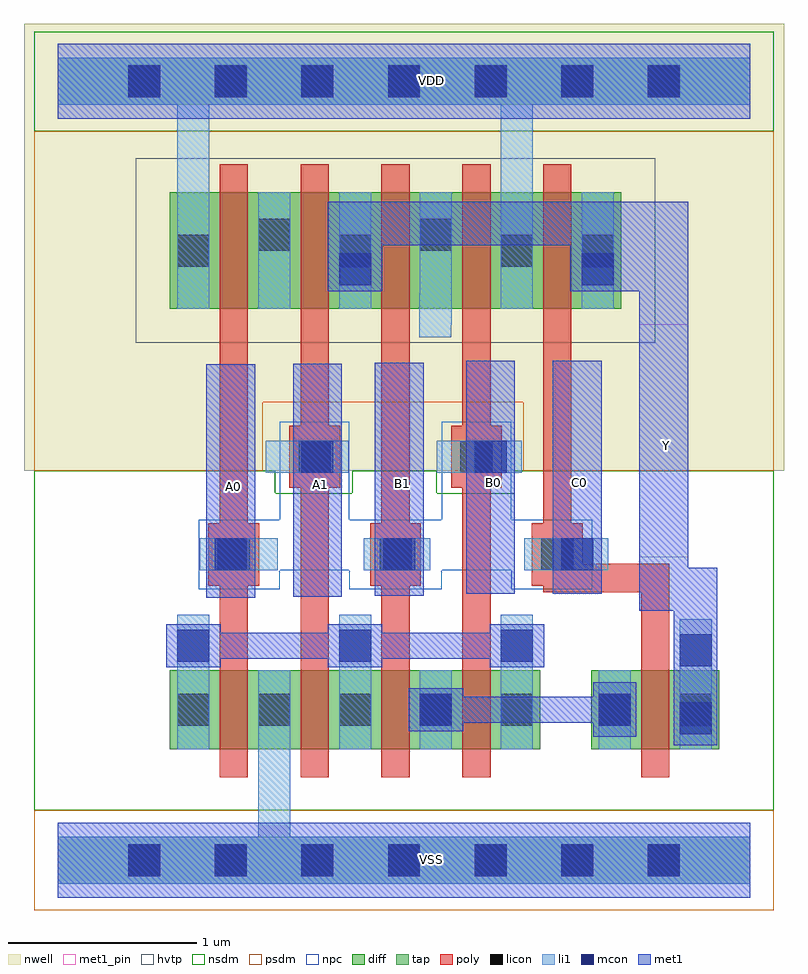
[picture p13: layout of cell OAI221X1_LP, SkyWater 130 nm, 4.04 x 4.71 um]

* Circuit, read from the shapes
.subckt OAI221X1_LP A0 A1 B0 B1 C0 VDD VSS Y
XM1 VSS A0 n1 VSS sky130_fd_pr__nfet_01v8 w=0.42 l=0.15
XM2 n1 A1 VSS VSS sky130_fd_pr__nfet_01v8 w=0.42 l=0.15
XM3 n2 B1 n1 VSS sky130_fd_pr__nfet_01v8 w=0.42 l=0.15
XM4 n1 B0 n2 VSS sky130_fd_pr__nfet_01v8 w=0.42 l=0.15
XM5 Y C0 n2 VSS sky130_fd_pr__nfet_01v8 w=0.42 l=0.15
XM6 n3 A0 VDD VDD sky130_fd_pr__pfet_01v8_hvt w=0.62 l=0.15
XM7 Y A1 n3 VDD sky130_fd_pr__pfet_01v8_hvt w=0.62 l=0.15
XM8 n4 B1 Y VDD sky130_fd_pr__pfet_01v8_hvt w=0.62 l=0.15
XM9 VDD B0 n4 VDD sky130_fd_pr__pfet_01v8_hvt w=0.62 l=0.15
XM10 Y C0 VDD VDD sky130_fd_pr__pfet_01v8_hvt w=0.62 l=0.15
.ends

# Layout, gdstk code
from math import pi, radians
import gdstk
lib = gdstk.Library(unit=1e-6, precision=1e-09)
def R(c, l, rs):  # rectangles x0, y0, x1, y1
    for r in rs: c.add(gdstk.rectangle(r[:2], r[2:], *l))
def A(c, l, x, y, w, h, nx, ny, dx, dy):  # array of equal rectangles
    R(c, l, [(x+i*dx, y+j*dy, x+i*dx+w, y+j*dy+h) for i in range(nx) for j in range(ny)])
def P(c, l, *ps):  # polygons
    for p in ps: c.add(gdstk.Polygon(p, *l))
nwell = (64, 20)
diff = (65, 20)
tap = (65, 44)
poly = (66, 20)
licon = (66, 44)
li1 = (67, 20)
mcon = (67, 44)
met1_pin = (68, 16)
met1 = (68, 20)
hvtp = (78, 44)
nsdm = (93, 44)
psdm = (94, 20)
npc = (95, 20)

l1m1_c_cdns_752016907001 = lib.new_cell('L1M1_C_CDNS_752016907001')
R(l1m1_c_cdns_752016907001, li1, [(-0.085,-0.165,0.085,0.165)])
R(l1m1_c_cdns_752016907001, mcon, [(-0.085,-0.085,0.085,0.085)])
R(l1m1_c_cdns_752016907001, met1, [(-0.115,-0.145,0.115,0.145)])

l1m1_c_cdns_752016907003 = lib.new_cell('L1M1_C_CDNS_752016907003')
R(l1m1_c_cdns_752016907003, li1, [(-0.165,-0.085,0.165,0.085)])
R(l1m1_c_cdns_752016907003, mcon, [(-0.085,-0.085,0.085,0.085)])
R(l1m1_c_cdns_752016907003, met1, [(-0.115,-0.145,0.115,0.145)])

licondiff_c_cdns_7520169 = lib.new_cell('LICONDIFF_C_CDNS_752016907004')
R(licondiff_c_cdns_7520169, diff, [(-0.125,-0.145,0.125,0.145)])
R(licondiff_c_cdns_7520169, licon, [(-0.085,-0.085,0.085,0.085), (-0.085,-0.085,0.085,0.085)])

pyl1con_c_cdns_752016907 = lib.new_cell('PYL1CON_C_CDNS_752016907000')
R(pyl1con_c_cdns_752016907, poly, [(-0.135,-0.165,0.135,0.165)])
R(pyl1con_c_cdns_752016907, licon, [(-0.085,-0.085,0.085,0.085)])
R(pyl1con_c_cdns_752016907, npc, [(-0.185,-0.185,0.185,0.185)])

l1m1_c_cdns_752016907002 = lib.new_cell('L1M1_C_CDNS_752016907002')
R(l1m1_c_cdns_752016907002, li1, [(-0.085,-0.345,0.085,0.345)])
R(l1m1_c_cdns_752016907002, mcon, [(-0.085,-0.265,0.085,-0.095), (-0.085,0.095,0.085,0.265)])
R(l1m1_c_cdns_752016907002, met1, [(-0.115,-0.325,0.115,0.325)])

oai221x1_lp = lib.new_cell('OAI221X1_LP')
R(oai221x1_lp, nwell, [(-0.18,2.07,3.86,4.445)])
R(oai221x1_lp, diff, [(0.595,0.59,2.565,1.01), (2.835,0.59,3.515,1.01), (0.595,2.93,2.995,3.55)])
A(oai221x1_lp, poly, 0.86, 0.44, 0.15, 3.26, 4, 1, 0.43, 0)
P(oai221x1_lp, poly, [(3.25,1.575),(2.73,1.575),(2.73,3.7),(2.58,3.7),(2.58,1.425),(3.1,1.425),(3.1,0.44),(3.25,0.44)])
A(oai221x1_lp, licon, 0.375, -0.085, 0.17, 0.17, 7, 2, 0.46, 4.14)
A(oai221x1_lp, licon, 0.635, 0.715, 0.17, 0.17, 5, 1, 0.43, 0)
A(oai221x1_lp, licon, 0.635, 3.155, 0.17, 0.17, 3, 1, 0.86, 0)
R(oai221x1_lp, licon, [(2.875,0.715,3.045,0.885), (3.305,0.715,3.475,0.885), (2.785,3.155,2.955,3.325)])
A(oai221x1_lp, li1, 1.495, 0.59, 0.17, 0.42, 3, 1, 0.43, 0)
R(oai221x1_lp, li1, [(0.635,0.59,0.805,1.01), (2.875,0.59,3.045,1.01), (3.305,0.59,3.475,1.01), (1.495,2.93,1.665,3.55), (2.785,2.93,2.955,3.55)])
P(oai221x1_lp, li1, [(2.095,3.55),(1.925,3.55),(1.925,3.015),(1.92,3.015),(1.92,2.78),(2.09,2.78),(2.09,2.845),(2.095,2.845)],
  [(3.68,4.265),(0,4.265),(0,4.015),(0.635,4.015),(0.635,2.93),(0.805,2.93),(0.805,4.015),(2.355,4.015),(2.355,2.93),(2.525,2.93),(2.525,4.015),(3.68,4.015)],
  [(3.68,0.125),(1.235,0.125),(1.235,1.01),(1.065,1.01),(1.065,0.125),(0,0.125),(0,-0.125),(3.68,-0.125)])
A(oai221x1_lp, mcon, 0.375, -0.085, 0.17, 0.17, 7, 2, 0.46, 4.14)
R(oai221x1_lp, met1_pin, [(0.79,1.395,1.05,2.635), (1.25,1.4,1.51,2.64), (1.685,1.405,1.945,2.645), (2.17,1.415,2.43,2.655), (2.63,1.415,2.89,2.655), (3.09,1.61,3.35,2.85)])
P(oai221x1_lp, met1, [(3.505,1.555),(3.35,1.555),(3.35,3.5),(1.435,3.5),(1.435,3.025),(1.725,3.025),(1.725,3.27),(2.725,3.27),(2.725,3.025),(3.09,3.025),(3.09,1.325),(3.275,1.325),(3.275,0.935),(3.505,0.935)])
R(oai221x1_lp, hvtp, [(0.415,2.75,3.175,3.73)])
R(oai221x1_lp, nsdm, [(-0.125,3.875,3.805,4.405)])
P(oai221x1_lp, nsdm, [(3.805,2.07),(2.425,2.07),(2.425,1.95),(2.015,1.95),(2.015,2.07),(1.565,2.07),(1.565,1.95),(1.155,1.95),(1.155,2.07),(-0.125,2.07),(-0.125,0.265),(3.805,0.265)])
R(oai221x1_lp, psdm, [(-0.125,-0.265,3.805,0.265)])
P(oai221x1_lp, psdm, [(3.805,3.875),(-0.125,3.875),(-0.125,2.07),(1.09,2.07),(1.09,2.435),(2.475,2.435),(2.475,2.07),(3.805,2.07)])
P(oai221x1_lp, npc, [(2.84,1.81),(2.41,1.81),(2.41,2.33),(2.04,2.33),(2.04,1.81),(1.55,1.81),(1.55,2.33),(1.18,2.33),(1.18,1.81),(0.75,1.81),(0.75,1.44),(1.18,1.44),(1.18,1.54),(1.55,1.54),(1.55,1.44),(2.04,1.44),(2.04,1.54),(2.41,1.54),(2.41,1.44),(2.84,1.44)])
oai221x1_lp.add(gdstk.FlexPath([(1.15,2.93),(1.15,3.55)], 0.17, ends="flush", simple_path=True, layer=67, datatype=20))  # li1
oai221x1_lp.add(gdstk.FlexPath([(1.79,1.625),(1.625,1.625)], 0.17, ends=(0.085, 0), simple_path=True, layer=67, datatype=20))  # li1
oai221x1_lp.add(gdstk.FlexPath([(1.27,2.145),(1.105,2.145)], 0.17, ends=(0.085, 0), simple_path=True, layer=67, datatype=20))  # li1
oai221x1_lp.add(gdstk.FlexPath([(1.085,1.625),(0.92,1.625)], 0.17, ends=(0.085, 0), simple_path=True, layer=67, datatype=20))  # li1
oai221x1_lp.add(gdstk.FlexPath([(2.18,2.145),(2.015,2.145)], 0.17, ends=(0.085, 0), simple_path=True, layer=67, datatype=20))  # li1
oai221x1_lp.add(gdstk.FlexPath([(2.645,1.625),(2.48,1.625)], 0.17, ends=(0.085, 0), simple_path=True, layer=67, datatype=20))  # li1
oai221x1_lp.add(gdstk.FlexPath([(0,4.14),(3.68,4.14)], 0.4, ends="flush", simple_path=True, layer=68, datatype=20))  # met1
oai221x1_lp.add(gdstk.FlexPath([(0,0),(3.68,0)], 0.4, ends="flush", simple_path=True, layer=68, datatype=20))  # met1
oai221x1_lp.add(gdstk.FlexPath([(1.815,1.405),(1.815,2.645)], 0.26, ends="flush", simple_path=True, layer=68, datatype=20))  # met1
oai221x1_lp.add(gdstk.FlexPath([(2.3,1.415),(2.3,2.655)], 0.26, ends="flush", simple_path=True, layer=68, datatype=20))  # met1
oai221x1_lp.add(gdstk.FlexPath([(2.76,1.415),(2.76,2.655)], 0.26, ends="flush", simple_path=True, layer=68, datatype=20))  # met1
oai221x1_lp.add(gdstk.FlexPath([(1.38,1.4),(1.38,2.64)], 0.26, ends="flush", simple_path=True, layer=68, datatype=20))  # met1
oai221x1_lp.add(gdstk.FlexPath([(0.92,1.395),(0.92,2.635)], 0.26, ends="flush", simple_path=True, layer=68, datatype=20))  # met1
oai221x1_lp.add(gdstk.FlexPath([(2.01,0.8),(2.96,0.8)], 0.14, ends="flush", simple_path=True, layer=68, datatype=20))  # met1
oai221x1_lp.add(gdstk.FlexPath([(0.72,1.14),(2.44,1.14)], 0.14, ends="flush", simple_path=True, layer=68, datatype=20))  # met1
oai221x1_lp.add(gdstk.FlexPath([(0,4.14),(3.68,4.14)], 0.4, ends="flush", simple_path=True, layer=68, datatype=16))  # met1_pin
oai221x1_lp.add(gdstk.FlexPath([(0,0),(3.68,0)], 0.4, ends="flush", simple_path=True, layer=68, datatype=16))  # met1_pin
oai221x1_lp.add(gdstk.FlexPath([(0,4.14),(3.68,4.14)], 0.25, ends="flush", simple_path=True, layer=65, datatype=44))  # tap
oai221x1_lp.add(gdstk.FlexPath([(0,0),(3.68,0)], 0.25, ends="flush", simple_path=True, layer=65, datatype=44))  # tap
oai221x1_lp.add(gdstk.Reference(l1m1_c_cdns_752016907001, (2.96,0.8), rotation=pi))
oai221x1_lp.add(gdstk.Reference(l1m1_c_cdns_752016907003, (1.58,3.14), rotation=pi/2))
oai221x1_lp.add(gdstk.Reference(l1m1_c_cdns_752016907003, (2.3,2.145), x_reflection=True))
oai221x1_lp.add(gdstk.Reference(l1m1_c_cdns_752016907003, (1.38,2.145), x_reflection=True))
oai221x1_lp.add(gdstk.Reference(l1m1_c_cdns_752016907003, (2.76,1.625), x_reflection=True))
oai221x1_lp.add(gdstk.Reference(l1m1_c_cdns_752016907003, (0.92,1.625), x_reflection=True))
oai221x1_lp.add(gdstk.Reference(l1m1_c_cdns_752016907003, (1.815,1.625), x_reflection=True))
oai221x1_lp.add(gdstk.Reference(l1m1_c_cdns_752016907003, (2.01,0.8), rotation=pi/2))
oai221x1_lp.add(gdstk.Reference(l1m1_c_cdns_752016907003, (2.44,1.14), rotation=pi/2))
oai221x1_lp.add(gdstk.Reference(l1m1_c_cdns_752016907003, (1.58,1.14), rotation=pi/2))
oai221x1_lp.add(gdstk.Reference(l1m1_c_cdns_752016907003, (0.72,1.14), rotation=pi/2))
oai221x1_lp.add(gdstk.Reference(l1m1_c_cdns_752016907003, (2.87,3.14), rotation=pi/2))
oai221x1_lp.add(gdstk.Reference(licondiff_c_cdns_7520169, (1.15,3.325)))
oai221x1_lp.add(gdstk.Reference(licondiff_c_cdns_7520169, (2.01,3.325)))
oai221x1_lp.add(gdstk.Reference(pyl1con_c_cdns_752016907, (2.225,2.145), x_reflection=True))
oai221x1_lp.add(gdstk.Reference(pyl1con_c_cdns_752016907, (0.935,1.625), x_reflection=True))
oai221x1_lp.add(gdstk.Reference(pyl1con_c_cdns_752016907, (1.795,1.625), x_reflection=True))
oai221x1_lp.add(gdstk.Reference(pyl1con_c_cdns_752016907, (2.655,1.625), x_reflection=True))
oai221x1_lp.add(gdstk.Reference(pyl1con_c_cdns_752016907, (1.365,2.145), x_reflection=True))
oai221x1_lp.add(gdstk.Reference(l1m1_c_cdns_752016907002, (3.39,0.935)))
oai221x1_lp.add(gdstk.Label('VDD', (1.985,4.145), layer=68, texttype=5))
oai221x1_lp.add(gdstk.Label('Y', (3.235,2.205), layer=68, texttype=5))
oai221x1_lp.add(gdstk.Label('C0', (2.775,2.01), layer=68, texttype=5))
oai221x1_lp.add(gdstk.Label('B0', (2.315,2.01), layer=68, texttype=5))
oai221x1_lp.add(gdstk.Label('B1', (1.83,2), layer=68, texttype=5))
oai221x1_lp.add(gdstk.Label('A1', (1.395,1.995), layer=68, texttype=5))
oai221x1_lp.add(gdstk.Label('A0', (0.935,1.985), layer=68, texttype=5))
oai221x1_lp.add(gdstk.Label('VSS', (1.985,0.005), layer=68, texttype=5))

lib.write_gds('OAI221X1_LP.gds')
